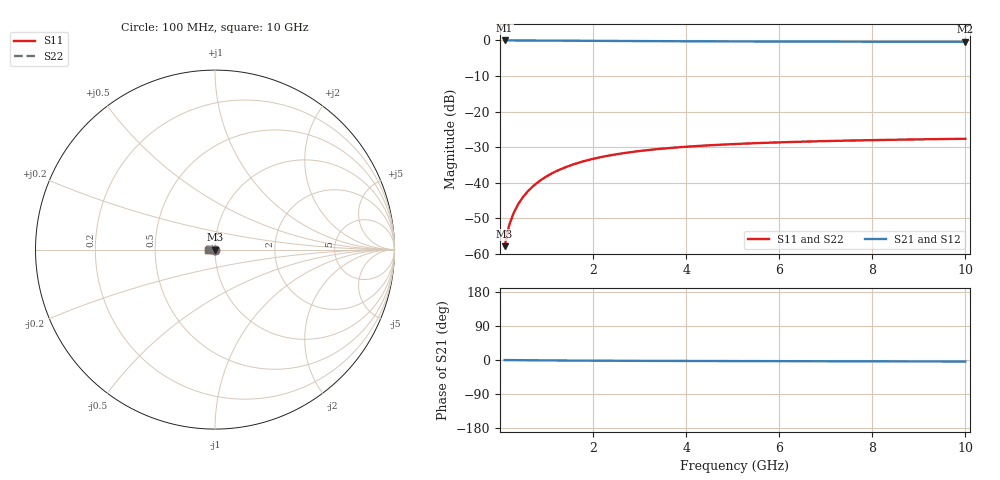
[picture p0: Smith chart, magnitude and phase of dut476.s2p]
! Touchstone file exported from HFSS 2024.1.0
!  File:  C:/UserFiles/LocalFiles/RDL_TSV_Batchsim/temp_TSV1_476_1779698966.aedt
!  Generated:  04:56:42 PM May 25, 2026
!  Design:  TSV1
!  Project:  temp_TSV1_476_1779698966
!  Setup:  Setup1
!  Solution:  Sweep
! Variables:
!  dtsv = 14.27um
!  hbump = 3um
!  htsv = 58.63um
!  lrdl = 252.1521522um
!  p = 40
!  p1 = 56.26um
!  t = 500um
!  trdl = 3um
!  wrdl = 24.89489489um
# GHz S MA R 50.000000
! Terminal data exported
! Port[1] = TSV22_T1
! Port[2] = TSV22_T2
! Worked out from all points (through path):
!   100 points, 100 MHz to 10 GHz, reference 50 ohm
!   highest |S21| = 0.00 dB at 100 MHz (marker M1); lowest = -0.4 dB at 10 GHz (marker M2)
!   lowest |S11| = -57.9 dB at 100 MHz (marker M3), VSWR 1.00, Z = 50 - j0.127 ohm
!   |S11| at or under -10 dB: start of sweep to end of sweep
!   |S22| runs from -57.9 to -27.7 dB; largest |S21 - S12| = 9.1e-15
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0.1  0.001273 -88.8  0.9999 -0.1  0.9999 -0.1  0.001273 -88.8
! Gamma 0 0 0 0
! Port Impedance 50 0 50 0
0.2  0.002545 -92.2  0.9997 -0.2  0.9997 -0.2  0.002545 -92.2
0.3  0.003814 -94.5  0.9995 -0.3  0.9995 -0.3  0.003814 -94.5
0.4  0.005075 -96.7  0.9992 -0.4  0.9992 -0.4  0.005075 -96.7
0.5  0.006321 -98.8  0.9988 -0.6  0.9988 -0.6  0.006321 -98.8
0.6  0.007549 -100.8  0.9983 -0.7  0.9983 -0.7  0.007549 -100.8
0.7  0.008753 -102.8  0.9978 -0.8  0.9978 -0.8  0.008753 -102.8
0.8  0.009933 -104.7  0.9972 -0.9  0.9972 -0.9  0.009933 -104.7
0.9  0.01108 -106.6  0.9966 -1.0  0.9966 -1.0  0.01108 -106.6
1.1  0.01329 -110.2  0.9952 -1.1  0.9952 -1.1  0.01329 -110.2
1.4  0.01636 -115.3  0.9928 -1.4  0.9928 -1.4  0.01636 -115.3
1.6  0.01823 -118.5  0.9911 -1.5  0.9911 -1.5  0.01823 -118.5
1.8  0.01996 -121.5  0.9894 -1.7  0.9894 -1.7  0.01996 -121.5
2.1  0.0223 -125.7  0.9868 -1.8  0.9868 -1.8  0.0223 -125.7
2.5  0.025 -130.7  0.9835 -2.0  0.9835 -2.0  0.025 -130.7
2.9  0.02728 -135.2  0.9805 -2.2  0.9805 -2.2  0.02728 -135.2
3.4  0.02964 -140.2  0.9771 -2.4  0.9771 -2.4  0.02964 -140.2
4.2  0.03256 -146.8  0.9726 -2.6  0.9726 -2.6  0.03256 -146.8
5.1  0.03498 -152.9  0.9686 -2.9  0.9686 -2.9  0.03498 -152.9
6.7  0.03792 -161.4  0.9636 -3.2  0.9636 -3.2  0.03792 -161.4
8.4  0.03997 -168.4  0.9602 -3.6  0.9602 -3.6  0.03997 -168.4
10  0.04136 -173.8  0.958 -4.0  0.958 -4.0  0.04136 -173.8
